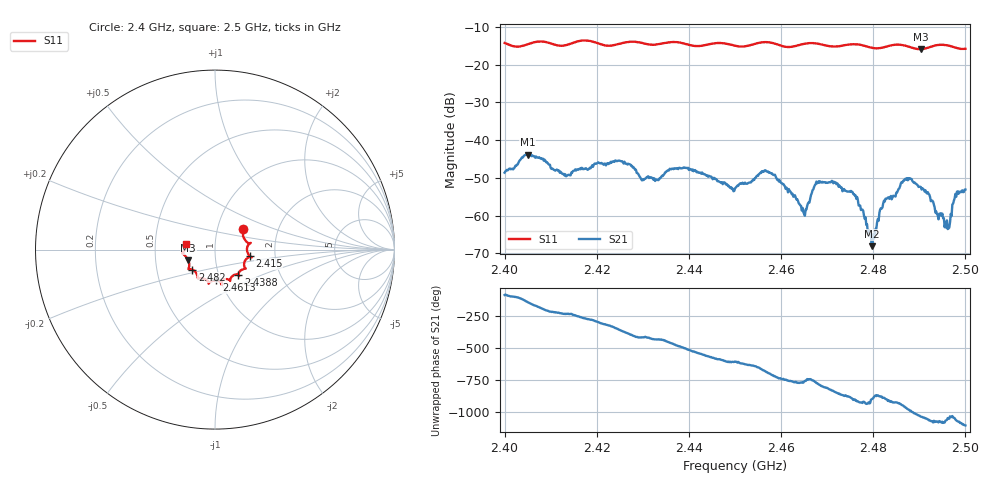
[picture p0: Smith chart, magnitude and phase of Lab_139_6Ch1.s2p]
# Hz S RI R 50
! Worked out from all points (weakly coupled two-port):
!   601 points, 2.4 GHz to 2.5 GHz, reference 50 ohm
!   highest |S21| = -43.82 dB at 2.405 GHz (marker M1); lowest = -68.1 dB at 2.4797 GHz (marker M2)
!   lowest |S11| = -15.9 dB at 2.4903 GHz (marker M3), VSWR 1.38, Z = 36.8 - j4.45 ohm
!   |S11| at or under -10 dB: start of sweep to end of sweep
!   S12 and S22 are empty: the file has one direction only
!   S11 on the Smith chart (normalised r, x): 2.4 GHz: 1.33, +0.31; 2.415 GHz: 1.47, -0.11; 2.4388 GHz: 1.24, -0.36; 2.4613 GHz: 0.96, -0.34; 2.482 GHz: 0.76, -0.17; 2.5 GHz: 0.72, +0.05
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2.4e9  0.1579 0.112  0.000307 -0.0037  0 0  0 0
2.405e9  0.182 0.0389  -0.00502 -0.00404  0 0  0 0
2.415e9  0.1924 -0.0358  -0.0019 0.00344  0 0  0 0
2.416667e9  0.2036 -0.0437  -0.00071 0.00424  0 0  0 0
2.425e9  0.1642 -0.0956  0.00532 2.14e-05  0 0  0 0
2.433333e9  0.132 -0.1314  0.000938 -0.00279  0 0  0 0
2.438833e9  0.1299 -0.1405  -0.0032 -0.00294  0 0  0 0
2.45e9  0.0688 -0.1649  -0.000963 0.00209  0 0  0 0
2.456667e9  0.0382 -0.1955  0.0032 0.00236  0 0  0 0
2.461333e9  0.00764 -0.1712  0.00189 -0.00128  0 0  0 0
2.465e9  -0.0333 -0.1857  0.000784 -0.000704  0 0  0 0
2.466667e9  -0.035 -0.1901  0.00174 -0.000965  0 0  0 0
2.470667e9  -0.0501 -0.1681  -0.000707 -0.00267  0 0  0 0
2.475667e9  -0.0947 -0.1609  -0.00192 0.000183  0 0  0 0
2.479667e9  -0.1041 -0.1311  -0.000394 -1.39e-06  0 0  0 0
2.482e9  -0.1256 -0.1117  -0.00126 -0.000243  0 0  0 0
2.483333e9  -0.1393 -0.1089  -0.00174 0.000231  0 0  0 0
2.487167e9  -0.1456 -0.1009  -0.00115 0.00278  0 0  0 0
2.490333e9  -0.1492 -0.0589  0.00172 0.00167  0 0  0 0
2.496e9  -0.1797 -0.0172  0.000821 0.000276  0 0  0 0
2.497833e9  -0.1682 -0.00261  0.0018 0.000719  0 0  0 0
2.5e9  -0.1588 0.0325  0.00201 -0.000933  0 0  0 0
